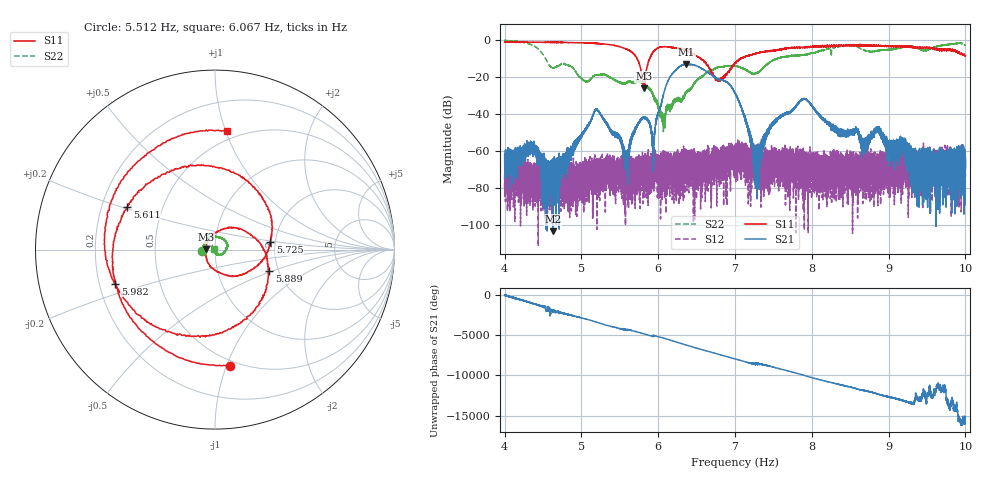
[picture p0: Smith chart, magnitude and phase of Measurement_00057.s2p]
!Created with skrf (http://scikit-rf.org).
# Hz S RI R 50.0
!freq ReS11 ImS11 ReS21 ImS21 ReS12 ImS12 ReS22 ImS22
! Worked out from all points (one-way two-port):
!   14001 points, 4 Hz to 10 Hz, reference 50 ohm
!   highest |S21| = -12.95 dB at 6.364 Hz (marker M1); lowest = -103.6 dB at 4.629 Hz (marker M2)
!   lowest |S11| = -26.1 dB at 5.811 Hz (marker M3), VSWR 1.10, Z = 45.3 + j0.183 ohm
!   |S11| at or under -10 dB: 5.724 Hz to 5.888 Hz (164.1 mHz wide, 2.83 % of centre); 6.556239 Hz to 6.556995 Hz (755.4 uHz wide, 0.0115 % of centre); 6.558 Hz to 7.075 Hz (516.5 mHz wide, 7.58 % of centre) (the widest 3 of 7)
!   |S22| runs from -49.6 to -0.2 dB; largest |S21 - S12| = 0.23
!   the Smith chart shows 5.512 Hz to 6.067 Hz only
!   S11 on the Smith chart (normalised r, x): 5.512 Hz: 0.46, -1.03; 5.611 Hz: 0.31, +0.21; 5.725 Hz: 1.88, +0.18; 5.889 Hz: 1.79, -0.47; 5.982 Hz: 0.27, -0.15; 6.067 Hz: 0.43, +1.01
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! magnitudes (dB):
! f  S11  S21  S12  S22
! 4 Hz  -1.1  -62.1  -72.9  -0.2
! 4.354 Hz  -1.1  -60.5  -73.1  -2.6
! 4.629 Hz  -1.2  -103.6  -66.3  -15.3
! 5 Hz  -1.4  -50.8  -71.2  -20.8
! 5.2 Hz  -1.7  -37.5  -75.6  -18.9
! 5.512 Hz  -3.7  -53.7  -67.8  -23.0
! 5.611 Hz  -5.3  -60.6  -64.0  -22.6
! 5.725 Hz  -10.1  -46.3  -73.6  -22.5
! 5.811 Hz  -26.1  -42.3  -83.2  -23.7
! 5.889 Hz  -9.8  -45.6  -62.2  -26.5
! 5.933 Hz  -6.6  -58.4  -67.6  -30.1
! 5.982 Hz  -4.6  -42.0  -67.2  -32.4
! 6 Hz  -4.2  -39.2  -67.0  -35.1
! 6.067 Hz  -3.5  -29.9  -66.7  -45.8
! 6.364 Hz  -5.6  -12.9  -74.3  -28.2
! 6.777 Hz  -22.4  -21.1  -67.0  -14.6
! 7 Hz  -12.5  -28.8  -59.6  -14.0
! 7.279 Hz  -7.2  -63.7  -66.5  -17.6
! 7.506 Hz  -5.6  -44.4  -67.2  -10.8
! 8 Hz  -3.8  -35.5  -65.2  -6.9
! 9 Hz  -3.3  -57.6  -64.2  -5.1
! 10 Hz  -8.4  -68.9  -73.9  -3.1
